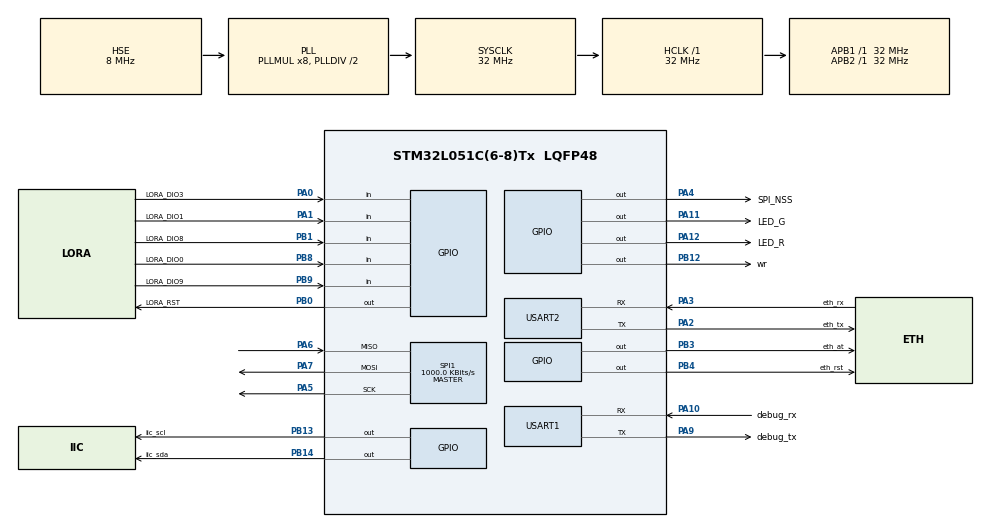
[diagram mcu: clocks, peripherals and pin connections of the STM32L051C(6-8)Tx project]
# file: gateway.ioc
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Dma.Request0=USART2_RX
Dma.USART2_RX.0.Direction=DMA_PERIPH_TO_MEMORY
Dma.USART2_RX.0.Instance=DMA1_Channel5
Dma.USART2_RX.0.MemDataAlignment=DMA_MDATAALIGN_BYTE
Dma.USART2_RX.0.MemInc=DMA_MINC_ENABLE
Dma.USART2_RX.0.Mode=DMA_NORMAL
Dma.USART2_RX.0.PeriphDataAlignment=DMA_PDATAALIGN_BYTE
Dma.USART2_RX.0.PeriphInc=DMA_PINC_DISABLE
Dma.USART2_RX.0.Priority=DMA_PRIORITY_LOW
IWDG.Prescaler=IWDG_PRESCALER_64
IWDG.Reload=625
IWDG.Window=625
Mcu.Family=STM32L0
Mcu.Name=STM32L051C(6-8)Tx
Mcu.Package=LQFP48
NVIC.DMA1_Channel4_5_6_7_IRQn=true\:0\:0\:false\:true\:true\:2\:false\:true
NVIC.USART2_IRQn=true\:0\:0\:false\:true\:true\:1\:true\:true
PA0.GPIO_Label=LORA_DIO3
PA0.Signal=GPIO_Input
PA1.GPIO_Label=LORA_DIO1
PA1.Signal=GPIO_Input
PA10.GPIO_Label=debug_rx
PA10.GPIO_PuPd=GPIO_PULLUP
PA10.Mode=Asynchronous
PA10.Signal=USART1_RX
PA11.GPIO_Label=LED_G
PA11.PinState=GPIO_PIN_SET
PA11.Signal=GPIO_Output
PA12.GPIO_Label=LED_R
PA12.PinState=GPIO_PIN_SET
PA12.Signal=GPIO_Output
PA13.Mode=Serial_Wire
PA13.Signal=SYS_SWDIO
PA14.Mode=Serial_Wire
PA14.Signal=SYS_SWCLK
PA2.GPIO_Label=eth_tx
PA2.Mode=Asynchronous
PA2.Signal=USART2_TX
PA3.GPIO_Label=eth_rx
PA3.GPIO_PuPd=GPIO_PULLUP
PA3.Mode=Asynchronous
PA3.Signal=USART2_RX
PA4.GPIO_Label=SPI_NSS
PA4.PinState=GPIO_PIN_SET
PA4.Signal=GPIO_Output
PA5.Mode=Full_Duplex_Master
PA5.Signal=SPI1_SCK
PA6.Mode=Full_Duplex_Master
PA6.Signal=SPI1_MISO
PA7.Mode=Full_Duplex_Master
PA7.Signal=SPI1_MOSI
PA9.GPIO_Label=debug_tx
PA9.Mode=Asynchronous
PA9.Signal=USART1_TX
PB0.GPIO_Label=LORA_RST
PB0.PinState=GPIO_PIN_SET
PB0.Signal=GPIO_Output
PB1.GPIO_Label=LORA_DIO8
PB1.Signal=GPIO_Input
PB12.GPIO_Label=wr
PB12.PinState=GPIO_PIN_SET
PB12.Signal=GPIO_Output
PB13.GPIO_Label=iic_scl
PB13.PinState=GPIO_PIN_SET
PB13.Signal=GPIO_Output
PB14.GPIO_Label=iic_sda
PB14.PinState=GPIO_PIN_SET
PB14.Signal=GPIO_Output
PB3.GPIO_Label=eth_at
PB3.PinState=GPIO_PIN_SET
PB3.Signal=GPIO_Output
PB4.GPIO_Label=eth_rst
PB4.PinState=GPIO_PIN_SET
PB4.Signal=GPIO_Output
PB8.GPIO_Label=LORA_DIO0
PB8.Signal=GPIO_Input
PB9.GPIO_Label=LORA_DIO9
PB9.Signal=GPIO_Input
PH0-OSC_IN.Mode=HSE-External-Oscillator
PH0-OSC_IN.Signal=RCC_OSC_IN
PH1-OSC_OUT.Mode=HSE-External-Oscillator
PH1-OSC_OUT.Signal=RCC_OSC_OUT
ProjectManager.HeapSize=0x400
ProjectManager.StackSize=0x1000
ProjectManager.TargetToolchain=MDK-ARM V5.27
RCC.ADCFreq_Value=16000000
RCC.AHBFreq_Value=32000000
RCC.APB1Freq_Value=32000000
RCC.APB1TimFreq_Value=32000000
RCC.APB2Freq_Value=32000000
RCC.APB2TimFreq_Value=32000000
RCC.EnbaleCSS=true
RCC.HCLKFreq_Value=32000000
RCC.HSE_VALUE=8000000
RCC.HSI16_VALUE=16000000
RCC.HSI_VALUE=16000000
RCC.LSE_VALUE=32768
RCC.MSI_VALUE=2097000
RCC.PLLMUL=RCC_PLLMUL_8
RCC.PLLSourceVirtual=RCC_PLLSOURCE_HSE
RCC.SYSCLKFreq_VALUE=32000000
RCC.SYSCLKSource=RCC_SYSCLKSOURCE_PLLCLK
RCC.VCOOutputFreq_Value=64000000
SPI1.BaudRatePrescaler=SPI_BAUDRATEPRESCALER_32
SPI1.CalculateBaudRate=1000.0 KBits/s
SPI1.Direction=SPI_DIRECTION_2LINES
SPI1.Mode=SPI_MODE_MASTER
SPI1.VirtualType=VM_MASTER
USART1.VirtualMode-Asynchronous=VM_ASYNC
USART2.VirtualMode-Asynchronous=VM_ASYNC
VP_IWDG_VS_IWDG.Mode=IWDG_Activate
board=custom

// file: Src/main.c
/* USER CODE BEGIN Header */
/**
  ******************************************************************************
  * @file           : main.c
  * @brief          : Main program body
  ******************************************************************************
  * @attention
  *
  * <h2><center>&copy; Copyright (c) 2020 STMicroelectronics.
  * All rights reserved.</center></h2>
  *
  * This software component is licensed by ST under BSD 3-Clause license,
  * the "License"; You may not use this file except in compliance with the
  * License. You may obtain a copy of the License at:
  *                        opensource.org/licenses/BSD-3-Clause
  *
  ******************************************************************************
  */
/* USER CODE END Header */

#include "main.h"
#include "dma.h"
#include "iwdg.h"
#include "spi.h"
#include "usart.h"
#include "gpio.h"

/* USER CODE BEGIN Includes */
#include "ether_hal.h"
#include "SX127X_Hal.h"
#include "SX127X_Driver.h"
#include "main_app.h"
#include "stdio.h"
#include "string.h"
#include "stm_flash.h"
/* USER CODE END Includes */

/* USER CODE BEGIN PM */
#define  BAOJINGQI_GATE_WAY_VERSION       "BJQ_GAYE_WAY_V1.01"
/* USER CODE END PM */

void SystemClock_Config(void);
static void MX_NVIC_Init(void);
/* USER CODE BEGIN PFP */
uint32_t gate_way_ip[1];
uint32_t gate_waytem_ip[1];
 uint32_t chuchang_flag=0;
uint32_t tep_chuchang_flag=0;
uint8_t  ip_in[20]={0};
uint8_t  ip_test[10]={192,168,0,128};
uint32_t  ip_test1[1]={0x12345678};
extern uint8_t  local_eth_ip[30];
//uint8_t   local_eth_port[30]="at+NRPort0=6962\r\n";
extern uint8_t  Remote_eth_ip[30];
extern uint8_t  Remote_eth_port[30];

 uint32_t  u32_local_eth_ip[1]={0};
 uint32_t  u32_Remote_eth_ip[1];
 uint32_t  u32_Remote_eth_port[1];
 uint32_t  u32_dev_num[1]={0};
extern uint8_t product_key[30];
 uint32_t u32_product_key[2]={0};

//test
//uint32_t  u32_product_key[2]={0x12345678,0x87654321};
//将4个字节转换成U32位
void u8_ip_to_u32_ip(uint8_t *ipbuf,uint32_t *ipuf)
{
          ipuf [0]=*(uint32_t*)ipbuf; //直接操作内存  1.元素的首地址
	          printf("%08x",ipuf[0]);
}

//将4个字节转换成U32位
void u8_ip_to_u32_ip_more(uint8_t *ipbuf,uint32_t *ipuf,uint16_t u8_len)
{
	  for(uint8_t i=0;i<u8_len;i++)
	{
//          ipuf [i]=*((uint32_t*)ipbuf); //直接操作内存  1.元素的首地址
	       ipuf [i]=*((uint32_t*)(ipbuf+i*4)); //直接操作内存  1.元素的首地址
//	       printf("%08x",ipuf[i]);

	}
}
//将u32转换成U8位
void u32_ip_to_u8_ip(uint8_t *ipbuf,uint32_t *ipuf,uint16_t u32_len)
{
	    for(uint8_t i=0;i<u32_len;i++)
	   {
             ipbuf[i*4]=*(uint8_t *)&ipuf[i];
	           ipbuf[i*4+1]=*(((uint8_t *)&ipuf[i])+1);
			       ipbuf[i*4+2]=*(((uint8_t *)&ipuf[i])+2);
			       ipbuf[i*4+3]=*(((uint8_t *)&ipuf[i])+3);
	   }
}
/* USER CODE END PFP */

/* USER CODE BEGIN 0 */
void chuchang_check()
{

//	  chuchang_flag=180;
//

//    STMFLASH_Read  (0x800f510,(uint32_t*)&chuchang_flag, 1); //读是否设置好ip
//		 printf("chuchang_flag=%d\r\n",chuchang_flag);
//     STMFLASH_Read (  0x80400, (uint32_t* )&factory_parameter_flag, 1);

//	STMFLASH_Read (0x800f500, (uint32_t* )u32_product_key, 2)	; //读
//	u32_ip_to_u8_ip(product_key,u32_product_key,2);
//    for(uint8_t i=0;i<8;i++)
//	{
//		printf("%02x",product_key[i]);
//
//	}

//	u8_ip_to_u32_ip_more(product_key,u32_product_key,2);
//	 if(chuchang_flag==3)
//	 {
//		 STMFLASH_Read (  0x800f428, (uint32_t* )u32_local_eth_ip, 1)	; //本机地址
//		 STMFLASH_Read (  0x800f448, (uint32_t* )u32_Remote_eth_ip, 1)	; //远程IP地址
//		 STMFLASH_Read (  0x800f468, (uint32_t* )u32_Remote_eth_port, 1)	; //远程PORT地址
////     	printf("%08x",u32_local_eth_ip[0]);
////		 	printf("%08x",u32_Remote_eth_ip[0]);
////		 	printf("%08x",u32_Remote_eth_port[0]);
//  sprintf((char*)local_eth_ip,"at+LANIp=%d.%d.%d.%d\r\n",*(uint8_t *)&u32_local_eth_ip,
//		*(((uint8_t *)&u32_local_eth_ip[0])+1),*(((uint8_t *)&u32_local_eth_ip[0])+2),*(((uint8_t *)&u32_local_eth_ip[0])+3));
////	  printf("local_eth_ip=%s",local_eth_ip);
//
//	sprintf((char*)Remote_eth_ip,"at+NDomain0=%d.%d.%d.%d\r\n",*(uint8_t *)&u32_Remote_eth_ip,
//		*(((uint8_t *)&u32_Remote_eth_ip[0])+1),*(((uint8_t *)&u32_Remote_eth_ip[0])+2),*(((uint8_t *)&u32_Remote_eth_ip[0])+3));
////	  printf("Remote_eth_ip=%s",Remote_eth_ip);
//  sprintf((char*)Remote_eth_port,"at+NRPort0=%d%d%d%d\r\n",*(uint8_t *)&u32_Remote_eth_port,
//		*(((uint8_t *)&u32_Remote_eth_port[0])+1),*(((uint8_t *)&u32_Remote_eth_port[0])+2),*(((uint8_t *)&u32_Remote_eth_port[0])+3));
//// printf("Remote_eth_port=%s",Remote_eth_port);
//	 }

}
void eth_set_parameter()
{

 }
/* USER CODE END 0 */

int main(void)
{

  /* MCU Configuration--------------------------------------------------------*/

  /* Reset of all peripherals, Initializes the Flash interface and the Systick. */
  HAL_Init();

  /* Configure the system clock */
  SystemClock_Config();

  /* Initialize all configured peripherals */
  MX_GPIO_Init();
  MX_DMA_Init();
  MX_SPI1_Init();
  MX_USART1_UART_Init();
  MX_USART2_UART_Init();
  MX_IWDG_Init();

  /* Initialize interrupts */
  MX_NVIC_Init();
  /* USER CODE BEGIN 2 */
//FLASH_If_Init();
	chuchang_check();
	 Param_Init();
//	printf("123\r\n");
//
//			printf("tep_chuchang_flag=%d",tep_chuchang_flag);
//  STMFLASH_Write (  0x800f408, (uint32_t* )ip_test1, 1)	;
//	STMFLASH_Read (  0x800f408, (uint32_t* )gate_way_ip, 1)	;
//	printf("%08x",gate_way_ip[0]);
//  sprintf(ip_in,"%d.%d.%d.%d",*(uint8_t *)&gate_way_ip,*(((uint8_t *)&gate_way_ip[0])+1),*(((uint8_t *)&gate_way_ip[0])+2),*(((uint8_t *)&gate_way_ip[0])+3));
//	printf("ip_in=%s",ip_in);
//reset_ethdevinit();
   app_lora_config_init();
   ETH_Rst();
   ETH_DMA_START();
	 Init_Dev_Param(); //设备SN码和 退出工厂模式
//   eth_at_open(); //设置进入AT模式
// 	 while(eth_init()!=1);//设置模组参数
//	  /* IWDG 1s 超时溢出 */
    MX_IWDG_Init();
	HAL_IWDG_Refresh(&hiwdg);
  /* 启动独立看门狗 */
 // HAL_IWDG_Start(&hiwdg);
  /* USER CODE END 2 */

  /* Infinite loop */
  while (1)
  {

    /* USER CODE BEGIN 3 */
				lora_process();
	    	wifi_process();
//		     HAL_Delay(5);
  }
  /* USER CODE END 3 */
}

void SystemClock_Config(void)
{
  RCC_OscInitTypeDef RCC_OscInitStruct = {0};
  RCC_ClkInitTypeDef RCC_ClkInitStruct = {0};
  RCC_PeriphCLKInitTypeDef PeriphClkInit = {0};

  /** Configure the main internal regulator output voltage
  */
  __HAL_PWR_VOLTAGESCALING_CONFIG(PWR_REGULATOR_VOLTAGE_SCALE1);
  /** Initializes the CPU, AHB and APB busses clocks
  */
  RCC_OscInitStruct.OscillatorType = RCC_OSCILLATORTYPE_LSI|RCC_OSCILLATORTYPE_HSE;
  RCC_OscInitStruct.HSEState = RCC_HSE_ON;
  RCC_OscInitStruct.LSIState = RCC_LSI_ON;
  RCC_OscInitStruct.PLL.PLLState = RCC_PLL_ON;
  RCC_OscInitStruct.PLL.PLLSource = RCC_PLLSOURCE_HSE;
  RCC_OscInitStruct.PLL.PLLMUL = RCC_PLLMUL_8;
  RCC_OscInitStruct.PLL.PLLDIV = RCC_PLLDIV_2;
  if (HAL_RCC_OscConfig(&RCC_OscInitStruct) != HAL_OK)
  {
    Error_Handler();
  }
  /** Initializes the CPU, AHB and APB busses clocks
  */
  RCC_ClkInitStruct.ClockType = RCC_CLOCKTYPE_HCLK|RCC_CLOCKTYPE_SYSCLK
                              |RCC_CLOCKTYPE_PCLK1|RCC_CLOCKTYPE_PCLK2;
  RCC_ClkInitStruct.SYSCLKSource = RCC_SYSCLKSOURCE_PLLCLK;
  RCC_ClkInitStruct.AHBCLKDivider = RCC_SYSCLK_DIV1;
  RCC_ClkInitStruct.APB1CLKDivider = RCC_HCLK_DIV1;
  RCC_ClkInitStruct.APB2CLKDivider = RCC_HCLK_DIV1;

  if (HAL_RCC_ClockConfig(&RCC_ClkInitStruct, FLASH_LATENCY_1) != HAL_OK)
  {
    Error_Handler();
  }
  PeriphClkInit.PeriphClockSelection = RCC_PERIPHCLK_USART1|RCC_PERIPHCLK_USART2;
  PeriphClkInit.Usart1ClockSelection = RCC_USART1CLKSOURCE_PCLK2;
  PeriphClkInit.Usart2ClockSelection = RCC_USART2CLKSOURCE_PCLK1;
  if (HAL_RCCEx_PeriphCLKConfig(&PeriphClkInit) != HAL_OK)
  {
    Error_Handler();
  }
  /** Enables the Clock Security System
  */
  HAL_RCC_EnableCSS();
}

/**
  * @brief NVIC Configuration.
  * @retval None
  */
static void MX_NVIC_Init(void)
{
  /* USART2_IRQn interrupt configuration */
  HAL_NVIC_SetPriority(USART2_IRQn, 0, 0);
  HAL_NVIC_EnableIRQ(USART2_IRQn);
  /* DMA1_Channel4_5_6_7_IRQn interrupt configuration */
  HAL_NVIC_SetPriority(DMA1_Channel4_5_6_7_IRQn, 0, 0);
  HAL_NVIC_EnableIRQ(DMA1_Channel4_5_6_7_IRQn);
}

void Error_Handler(void)
{
}

/************************ (C) COPYRIGHT STMicroelectronics *****END OF FILE****/
